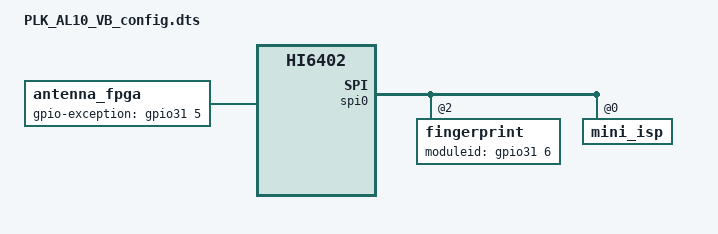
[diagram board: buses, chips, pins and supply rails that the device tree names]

/**
 * Huawei Ltd.
 * PhosphorV660
 */

/dts-v1/;

/include/ "fastboot.dtsi"
/include/ "PLK_AL10_VA_config.dtsi"
/include/ "PLK_AL10_VB_pin.dtsi"
/include/ "PLK_AL10_VB_hi6402_pin.dtsi"
/include/ "PLK_AL10_VB_modem_pin.dtsi"
///include/ "PLK_AL10_VB_charger.dtsi"
///include/ "PLK_AL10_VB_pmic.dtsi"
///include/ "PLK_AL10_VB_gpio_logic.dtsi"

/ {
	hisi,boardid = <1 8 9 4 >;
	hisi,boardname = "PLK_AL10_VB";

	panel_lcd_jdi_NT35695 {
		lcd-bl-type = <2>;
	};
	bcm_wifi {
		wlan_enable,gpio_vio = <&gpio2 4 0>;
	};
	bluetooth_power:bluetooth_power{
		huawei,vio_en = <20>;
        };

	audio_hw_config {
		product_name = "PLK_AL";
	};
	viacbp82d_cbp_spi:viacbp82d_cbp_spi {
		via_ap_abort_cp = <&gpio19 5 0>;      // ap abort cp            157
	};
	viacbp82d_power:viacbp82d_power {
                via_reset_ind = <&gpio31 1 0>;      // modem reset notice AP  249 (hi6402 gpio 25)
        };
	antenna_fpga{
		compatible = "antenna_fpga";
		antenna_fpga,gpio-exception = <&gpio31 5 0>;  //this is connected to hi6402 cs.
		status = "ok";
	};
	amba {
		spi0:spi@fdf07000 {
			fingerprint: fingerprint@2 {
				fpc1020,power_gpio = <0>;
				fpc1020,moduleid_gpio = <&gpio31 6 0>;
			};
		};
	};

	amba {
		spi0:spi@fdf07000 {
			mini_isp: mini_isp@0 {
				mini_isp,dvdd_gpio = <155>;
			};
		};
	};

	huawei,imx278 {
		huawei,ldo-names = "dvdd", "avdd", "iopw", "vcm", "avdd2", "dvdd2";
		gpios = <&gpio3 1 0  &gpio19 3 0>;
		huawei,gpio-ctrl-types = "reset", "suspend";
		status = "ok";
	};

	huawei,imx179 {
		huawei,ldo-names = "avdd", "iopw", "dvdd", "dvdd2", "avdd2", "vcm2";
		gpios = <&gpio3 2 0  &gpio19 3 0>;
		huawei,gpio-ctrl-types = "reset", "suspend";
		status = "ok";
	};

        hi6402_irq: hi6402_irq@e82b9000 {
                gpio31: gpio@3{
                        awake-gpio = <1>;
                        status = "ok";        
                };
		pmx4: hi6402_pinctrl {
		        pinctrl-names = "default", "idle";
			pinctrl-0 = <&gpio249_pinctrl_func>;
			pinctrl-1 = <&gpio249_pinctrl_idle>;
		};
                
        };

};

